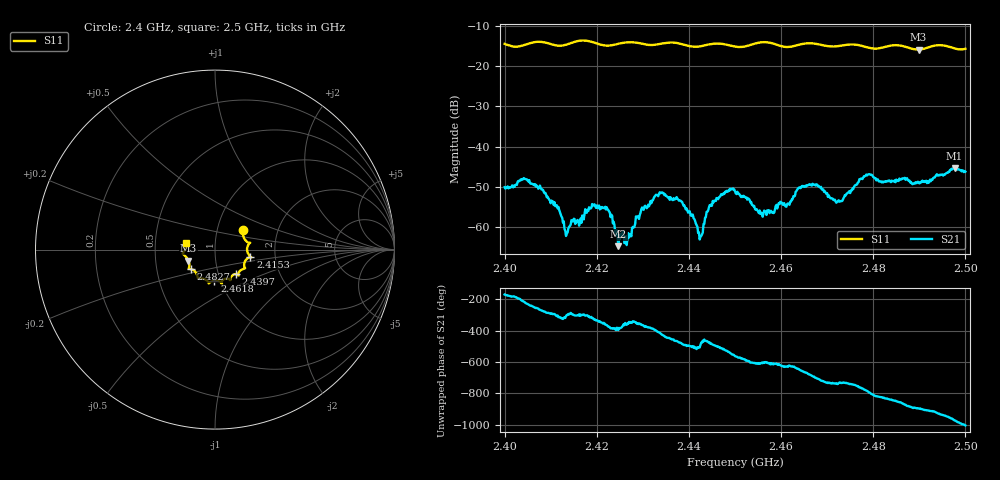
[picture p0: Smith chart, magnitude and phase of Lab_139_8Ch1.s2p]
# Hz S RI R 50
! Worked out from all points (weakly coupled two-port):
!   601 points, 2.4 GHz to 2.5 GHz, reference 50 ohm
!   highest |S21| = -45.32 dB at 2.4977 GHz (marker M1); lowest = -64.7 dB at 2.4247 GHz (marker M2)
!   lowest |S11| = -15.9 dB at 2.4898 GHz (marker M3), VSWR 1.38, Z = 36.9 - j4.6 ohm
!   |S11| at or under -10 dB: start of sweep to end of sweep
!   S12 and S22 are empty: the file has one direction only
!   S11 on the Smith chart (normalised r, x): 2.4 GHz: 1.33, +0.29; 2.4153 GHz: 1.48, -0.12; 2.4397 GHz: 1.21, -0.34; 2.4618 GHz: 0.94, -0.33; 2.4827 GHz: 0.75, -0.17; 2.5 GHz: 0.72, +0.06
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2.4e9  0.1551 0.1069  -0.00309 -0.000607  0 0  0 0
2.404833e9  0.1826 0.0408  -0.0027 0.00286  0 0  0 0
2.4135e9  0.1839 -0.0216  0.000418 0.000732  0 0  0 0
2.415333e9  0.1968 -0.0394  0.00059 0.000933  0 0  0 0
2.416667e9  0.2026 -0.0434  0.000586 0.000975  0 0  0 0
2.422e9  0.1674 -0.0646  0.00166 -5.1e-05  0 0  0 0
2.424667e9  0.1635 -0.0941  0.000472 -0.000347  0 0  0 0
2.433333e9  0.1299 -0.1339  0.00164 -0.0018  0 0  0 0
2.439667e9  0.1167 -0.1359  -0.00112 -0.00116  0 0  0 0
2.4425e9  0.0915 -0.15  -0.000494 -0.000579  0 0  0 0
2.445e9  0.0838 -0.1683  -0.0011 -0.00149  0 0  0 0
2.45e9  0.0654 -0.162  -0.0026 0.00105  0 0  0 0
2.455667e9  0.0378 -0.1932  -0.000606 0.0014  0 0  0 0
2.461833e9  -0.00334 -0.173  -0.000246 0.00189  0 0  0 0
2.466667e9  -0.0348 -0.1882  0.00276 0.0018  0 0  0 0
2.472333e9  -0.074 -0.1604  0.00198 -0.000722  0 0  0 0
2.4785e9  -0.1008 -0.139  0.00212 -0.00399  0 0  0 0
2.482667e9  -0.1351 -0.1086  -0.00136 -0.00341  0 0  0 0
2.483333e9  -0.1403 -0.1083  -0.00165 -0.00335  0 0  0 0
2.489833e9  -0.1479 -0.0608  -0.00364 -0.000228  0 0  0 0
2.497667e9  -0.1654 0.000287  -0.00161 0.00517  0 0  0 0
2.5e9  -0.159 0.0384  0.00124 0.00476  0 0  0 0
